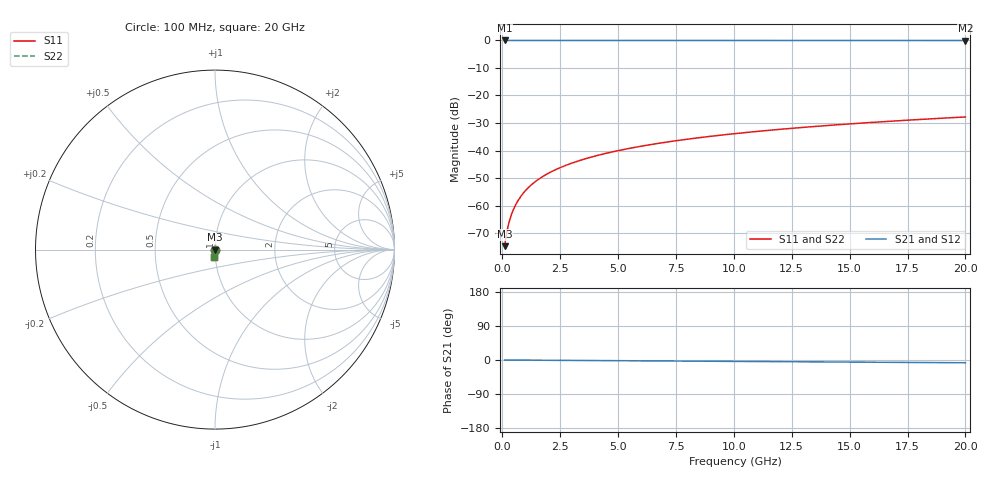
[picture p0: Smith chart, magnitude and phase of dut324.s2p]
! Touchstone file exported from HFSS 2026.1.0
!  File:  C:/ffzhzh/LocalFiles/Ansys_Project_Files/temp_train_TSV_324_1783018380_53980.aedt
!  Generated:  02:54:26 AM Jul  3, 2026
!  Design:  TSV
!  Project:  temp_train_TSV_324_1783018380_53980
! Variables:
!  h_bsmrdl = 2um
!  h_ox = 20um
!  h_rdl = 5um
!  h_sub = 70.82um
!  h_tmrdl = 5um
!  h_tsv = 70.82um
!  h_via = 3um
!  l_bsmrdl = 300um
!  l_sub = 426.22um
!  l_tmrdl = 200um
!  m_sub = 200um
!  pitch = 39.37um
!  r_tsv = 13.11um
!  s_tmrdl = 10um
!  w_bsmrdl = 18um
!  w_sub = 500um
!  w_tmrdl = 12um
!  x_tsv_center1 = 206um
!  x_tsv_center2 = 524um
!  x_tsv_center3 = 736um
!  x_tsv_center4 = 1054um
!  x_tsv_center5 = 1266um
!  x_tsv_center6 = 1584um
# GHz S MA R 50.000000
! Terminal data exported
! Port[1] = TSV1_1_T1
! Port[2] = TSV1_1_T2
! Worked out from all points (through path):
!   200 points, 100 MHz to 20 GHz, reference 50 ohm
!   highest |S21| = 0.00 dB at 100 MHz (marker M1); lowest = 0.0 dB at 20 GHz (marker M2)
!   group delay of S21, straight-line fit = 1.01 ps
!   lowest |S11| = -74.8 dB at 100 MHz (marker M3), VSWR 1.00, Z = 50 - j0.0163 ohm
!   |S11| at or under -10 dB: start of sweep to end of sweep
!   |S22| runs from -74.8 to -27.8 dB; largest |S21 - S12| = 2.2e-15
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0.1  0.0001828 -62.9  0.9999 -0.0  0.9999 -0.0  0.0001828 -62.9
! Gamma 0 0 0 0
! Port Impedance 50 0 50 0
0.2  0.0003429 -73.6  0.9999 -0.1  0.9999 -0.1  0.0003429 -73.6
0.3  0.0005146 -77.0  0.9999 -0.1  0.9999 -0.1  0.0005146 -77.0
0.4  0.0006947 -78.6  0.9999 -0.2  0.9999 -0.2  0.0006947 -78.6
0.5  0.0008814 -79.5  0.9998 -0.2  0.9998 -0.2  0.0008814 -79.5
0.7  0.001269 -80.9  0.9998 -0.3  0.9998 -0.3  0.001269 -80.9
0.8  0.001467 -81.5  0.9998 -0.3  0.9998 -0.3  0.001467 -81.5
1  0.001867 -82.5  0.9997 -0.4  0.9997 -0.4  0.001867 -82.5
1.2  0.002269 -83.4  0.9997 -0.5  0.9997 -0.5  0.002269 -83.4
1.4  0.002672 -84.1  0.9997 -0.5  0.9997 -0.5  0.002672 -84.1
1.7  0.003277 -85.0  0.9997 -0.6  0.9997 -0.6  0.003277 -85.0
2  0.003881 -85.6  0.9996 -0.7  0.9996 -0.7  0.003881 -85.6
2.7  0.00529 -86.8  0.9996 -1.0  0.9996 -1.0  0.00529 -86.8
3.5  0.006905 -87.7  0.9995 -1.3  0.9995 -1.3  0.006905 -87.7
4.2  0.008322 -88.2  0.9995 -1.6  0.9995 -1.6  0.008322 -88.2
5  0.009948 -88.8  0.9994 -1.8  0.9994 -1.8  0.009948 -88.8
6.8  0.01362 -89.9  0.9993 -2.5  0.9993 -2.5  0.01362 -89.9
8.3  0.0167 -90.7  0.9992 -3.0  0.9992 -3.0  0.0167 -90.7
10.1  0.02039 -91.6  0.999 -3.7  0.999 -3.7  0.02039 -91.6
13.4  0.02717 -93.1  0.9988 -4.9  0.9988 -4.9  0.02717 -93.1
16.7  0.03395 -94.5  0.9985 -6.1  0.9985 -6.1  0.03395 -94.5
20  0.04073 -95.8  0.9981 -7.3  0.9981 -7.3  0.04073 -95.8
